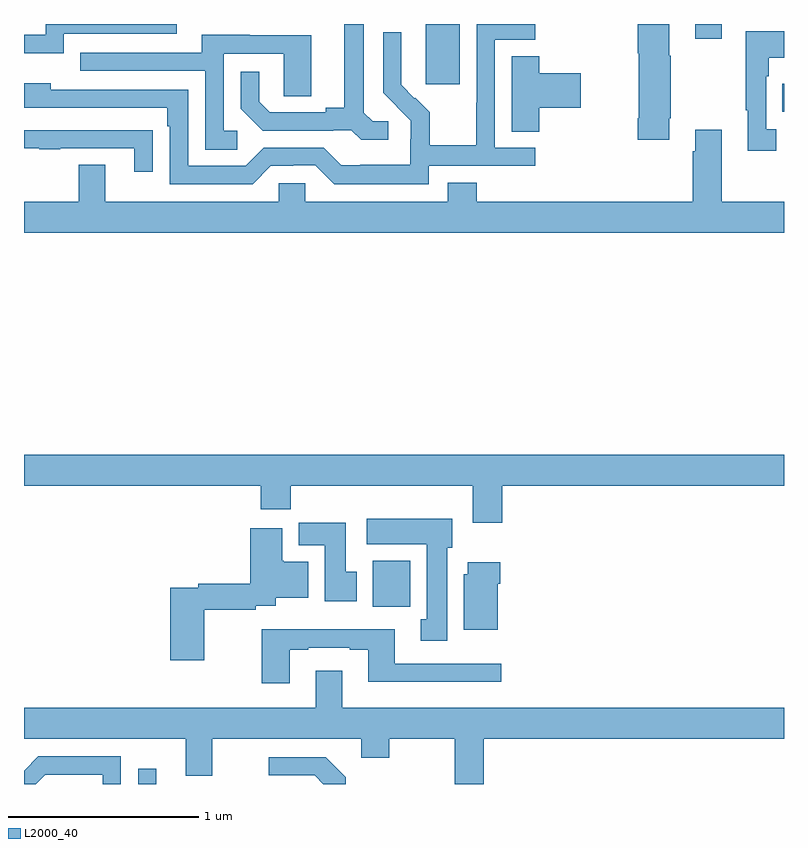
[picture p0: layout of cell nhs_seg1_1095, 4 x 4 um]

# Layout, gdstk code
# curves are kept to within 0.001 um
import gdstk
lib = gdstk.Library(unit=1e-6, precision=1e-09)
def R(c, l, rs):  # rectangles x0, y0, x1, y1
    for r in rs: c.add(gdstk.rectangle(r[:2], r[2:], *l))
def P(c, l, *ps):  # polygons
    for p in ps: c.add(gdstk.Polygon(p, *l))
L2000_40 = (2000, 40)

nhs_seg1_1095 = lib.new_cell('nhs_seg1_1095')
R(nhs_seg1_1095, L2000_40, [(171.601,514.199,171.697,514.279), (172.835,515.132,173.032,515.374), (174.991,517.738,175,517.885), (173.114,517.881,173.293,518.199), (174.533,518.121,174.673,518.199)])
P(nhs_seg1_1095, L2000_40, [(174.397,517.702),(174.405,517.702),(174.405,518.033),(174.397,518.033),(174.397,518.199),(174.23,518.199),(174.23,518.044),(174.235,518.044),(174.235,517.702),(174.23,517.702),(174.23,517.59),(174.397,517.59)],
  [(172.918,517.686),(172.836,517.686),(172.789,517.733),(172.789,518.199),(172.685,518.199),(172.685,517.757),(172.589,517.757),(172.589,517.734),(172.294,517.734),(172.237,517.791),(172.237,517.948),(172.14,517.948),(172.14,517.754),(172.256,517.638),(172.628,517.638),(172.628,517.641),(172.722,517.641),(172.774,517.589),(172.918,517.589)],
  [(171.21,518.148),(171.805,518.148),(171.805,518.199),(171.114,518.199),(171.114,518.142),(171,518.142),(171,518.045),(171.21,518.045)],
  [(173.13,517.452),(173.692,517.452),(173.692,517.548),(173.478,517.548),(173.478,518.115),(173.692,518.115),(173.692,518.199),(173.382,518.199),(173.382,517.784),(173.38,517.784),(173.38,517.561),(173.135,517.561),(173.135,517.735),(173.058,517.812),(173.055,517.809),(172.985,517.88),(172.986,518.156),(172.89,518.156),(172.89,517.838),(173.036,517.69),(173.036,517.593),(173.034,517.593),(173.034,517.459),(172.771,517.459),(172.771,517.455),(172.671,517.455),(172.578,517.548),(172.263,517.548),(172.167,517.452),(171.864,517.452),(171.864,517.854),(171.14,517.854),(171.14,517.888),(171,517.888),(171,517.758),(171.755,517.758),(171.755,517.661),(171.768,517.661),(171.768,517.356),(172.203,517.356),(172.299,517.452),(172.418,517.452),(172.418,517.455),(172.533,517.455),(172.633,517.355),(173.13,517.355)],
  [(174.958,517.645),(174.906,517.645),(174.906,517.925),(174.919,517.925),(174.919,518.021),(175,518.021),(175,518.161),(174.798,518.161),(174.798,517.745),(174.809,517.745),(174.809,517.533),(174.958,517.533)],
  [(172.123,517.638),(172.05,517.638),(172.05,518.043),(172.368,518.043),(172.368,517.819),(172.513,517.819),(172.513,518.139),(172.189,518.139),(172.189,518.143),(171.935,518.143),(171.935,518.049),(171.295,518.049),(171.295,517.953),(171.954,517.953),(171.954,517.537),(172.123,517.537)],
  [(173.711,517.757),(173.929,517.757),(173.929,517.94),(173.711,517.94),(173.711,518.03),(173.567,518.03),(173.567,517.633),(173.711,517.633)],
  [(175,517.264),(174.673,517.264),(174.673,517.642),(174.533,517.642),(174.533,517.529),(174.521,517.529),(174.521,517.264),(173.384,517.264),(173.384,517.363),(173.231,517.363),(173.231,517.264),(172.479,517.264),(172.479,517.362),(172.341,517.362),(172.341,517.264),(171.427,517.264),(171.427,517.459),(171.287,517.459),(171.287,517.264),(171,517.264),(171,517.1),(175,517.1)],
  [(171.677,517.64),(171.575,517.64),(171.575,517.641),(171,517.641),(171,517.545),(171.079,517.545),(171.079,517.54),(171.191,517.54),(171.191,517.545),(171.581,517.545),(171.581,517.422),(171.677,517.422)],
  [(173.516,515.768),(175,515.768),(175,515.932),(171,515.932),(171,515.768),(172.247,515.768),(172.247,515.644),(172.403,515.644),(172.403,515.768),(173.363,515.768),(173.363,515.574),(173.516,515.574)],
  [(173.227,515.442),(173.254,515.442),(173.254,515.596),(172.803,515.596),(172.803,515.462),(173.12,515.462),(173.12,515.066),(173.087,515.066),(173.087,514.953),(173.227,514.953)],
  [(172.75,515.316),(172.693,515.316),(172.693,515.574),(172.445,515.574),(172.445,515.456),(172.583,515.456),(172.583,515.16),(172.75,515.16)],
  [(171.948,515.116),(172.22,515.116),(172.22,515.136),(172.324,515.136),(172.324,515.18),(172.495,515.18),(172.495,515.368),(172.366,515.368),(172.366,515.374),(172.36,515.374),(172.36,515.545),(172.19,515.545),(172.19,515.252),(171.916,515.252),(171.916,515.232),(171.77,515.232),(171.77,514.851),(171.948,514.851)],
  [(173.494,515.252),(173.507,515.252),(173.507,515.365),(173.336,515.365),(173.336,515.304),(173.315,515.304),(173.315,515.012),(173.494,515.012)],
  [(172.399,514.905),(172.495,514.905),(172.495,514.917),(172.715,514.917),(172.715,514.905),(172.811,514.905),(172.811,514.736),(173.512,514.736),(173.512,514.833),(172.951,514.833),(172.951,515.014),(172.252,515.014),(172.252,514.728),(172.399,514.728)],
  [(173.42,514.436),(175,514.436),(175,514.6),(172.675,514.6),(172.675,514.795),(172.535,514.795),(172.535,514.6),(171,514.6),(171,514.436),(171.851,514.436),(171.851,514.242),(171.991,514.242),(171.991,514.436),(172.775,514.436),(172.775,514.337),(172.923,514.337),(172.923,514.436),(173.267,514.436),(173.267,514.199),(173.42,514.199)],
  [(171.111,514.248),(171.414,514.248),(171.414,514.199),(171.51,514.199),(171.51,514.344),(171.075,514.344),(171,514.269),(171,514.199),(171.062,514.199)],
  [(172.693,514.235),(172.587,514.341),(172.287,514.341),(172.287,514.245),(172.53,514.245),(172.576,514.199),(172.693,514.199)])

lib.write_gds('nhs_seg1_1095.gds')
